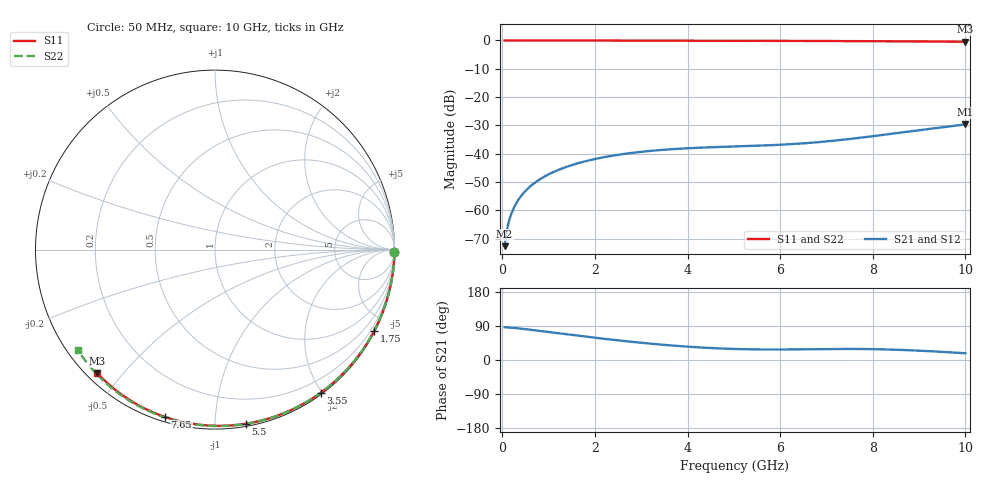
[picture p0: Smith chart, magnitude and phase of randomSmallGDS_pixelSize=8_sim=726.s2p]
! freq	dB(S11)	phase(S11)	dB(S12)	phase(S12)
!  dB(S21)	phase(S21)	dB(S22)	phase(S22)
!S-par simulation data
#  GHz  S  DB  R 50
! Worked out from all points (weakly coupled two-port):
!   200 points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, 50 MHz to 10 GHz, reference 50 ohm
!   highest |S21| = -29.66 dB at 10 GHz (marker M1); lowest = -72.6 dB at 50 MHz (marker M2)
!   lowest |S11| = -0.4 dB at 10 GHz (marker M3), VSWR 39.34, Z = 1.5 - j21.4 ohm
!   |S11| at or under -10 dB: nowhere
!   |S22| runs from -0.5 to 0.0 dB; largest |S21 - S12| = 0
!   S11 on the Smith chart (normalised r, x): 50 MHz: open; 1.75 GHz: 0.04, -4.16; 3.55 GHz: 0.02, -1.98; 5.5 GHz: 0.02, -1.19; 7.65 GHz: 0.02, -0.74; 10 GHz: 0.03, -0.43
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0.05  -0.00 -0.8  -72.64 86.5  -72.64 86.5  -0.00 -0.9
0.1  -0.00 -1.6  -66.88 86.1  -66.88 86.1  -0.00 -1.7
0.15  -0.00 -2.4  -63.46 85.8  -63.46 85.8  -0.00 -2.6
0.2  -0.00 -3.1  -61.00 85.4  -61.00 85.4  -0.00 -3.4
0.25  -0.00 -3.9  -59.09 84.8  -59.09 84.8  -0.00 -4.3
0.35  -0.00 -5.5  -56.20 83.5  -56.20 83.5  -0.00 -6.0
0.5  -0.01 -7.8  -53.14 81.3  -53.14 81.3  -0.01 -8.5
0.7  -0.01 -10.9  -50.27 78.3  -50.27 78.3  -0.01 -11.9
1  -0.02 -15.6  -47.28 73.7  -47.28 73.7  -0.02 -16.9
1.35  -0.03 -21.0  -44.84 68.3  -44.84 68.3  -0.03 -22.7
1.75  -0.03 -27.0  -42.84 62.3  -42.84 62.3  -0.04 -29.3
2.5  -0.05 -38.3  -40.38 51.8  -40.38 51.8  -0.05 -41.4
3.4  -0.07 -51.4  -38.71 40.9  -38.71 40.9  -0.07 -55.5
3.55  -0.07 -53.5  -38.52 39.4  -38.52 39.4  -0.08 -57.8
4.3  -0.09 -64.0  -37.84 32.9  -37.84 32.9  -0.10 -69.0
5.05  -0.11 -74.1  -37.41 29.0  -37.41 29.0  -0.12 -79.9
5.5  -0.13 -80.0  -37.17 27.9  -37.17 27.9  -0.14 -86.2
6.7  -0.18 -95.2  -36.08 28.6  -36.08 28.6  -0.20 -102.4
7.65  -0.24 -106.7  -34.51 29.2  -34.51 29.2  -0.26 -114.7
8.35  -0.29 -114.9  -33.08 27.7  -33.08 27.7  -0.31 -123.5
9.2  -0.36 -124.6  -31.29 23.4  -31.29 23.4  -0.39 -134.0
10  -0.44 -133.6  -29.66 17.8  -29.66 17.8  -0.48 -143.9
